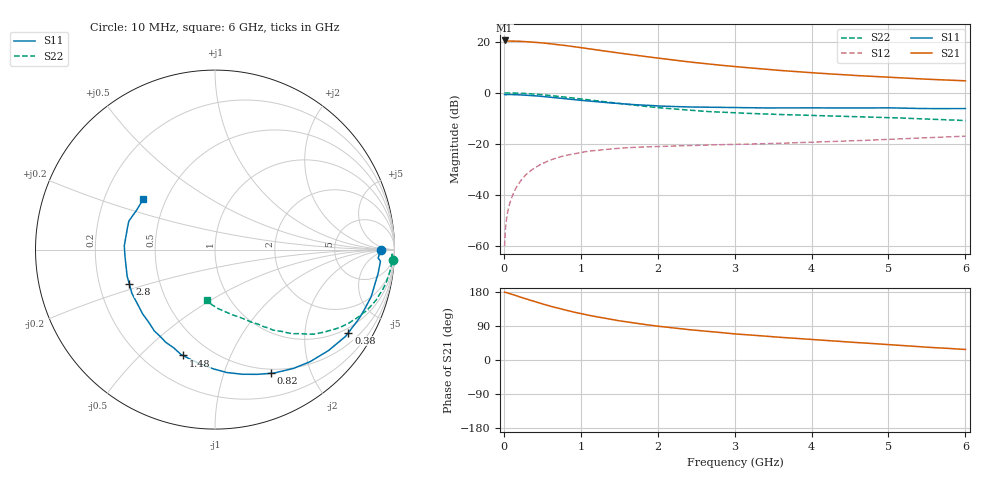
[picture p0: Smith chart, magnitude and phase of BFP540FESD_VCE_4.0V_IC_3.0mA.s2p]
! Infineon Technologies  Discrete & RF Semiconductors
! BFP540FESD
! VCE =  4.0 V,  IC =  3.0 mA
! Common Emitter S-Parameters:  Nov 2015
# GHz  S  MA  R  50
!  f  S11  S21  S12  S22
! GHz  MAG  ANG  MAG  ANG  MAG  ANG  MAG  ANG
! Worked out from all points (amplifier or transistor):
!   210 points, 10 MHz to 6 GHz, reference 50 ohm
!   highest |S21| = 20.4 dB at 10 MHz (marker M1)
!   |S21| within 3 dB of that: start of sweep to 1.048 GHz
!   unconditionally stable (mu >= 1): 3.155 GHz to end of sweep
!   at 185 MHz: K = 0.07, MSG = 28.0 dB, |S12| = -36.0 dB
!   at 1.52 GHz: K = 0.46, MSG = 18.6 dB, |S12| = -21.7 dB
!   at 6 GHz: K = 1.43, MAG = 6.9 dB, |S12| = -17.0 dB
!   S11 on the Smith chart (normalised r, x): 10 MHz: 25, +0; 380 MHz: 0.83, -3.31; 820 MHz: 0.45, -1.45; 1.48 GHz: 0.36, -0.68; 2.8 GHz: 0.33, -0.17; 6 GHz: 0.37, +0.27
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0.01  0.9226 0.0  10.48 178.9  0.001 50.3  0.9925 -3.3
0.02  0.9101 -3.0  10.16 178.7  0.0021 75.8  0.9866 -1.0
0.045  0.9217 -3.8  10.2 177.2  0.0043 85.0  0.9887 -2.1
0.11  0.9165 -9.1  10.2 173.0  0.0096 80.7  0.9858 -5.0
0.15  0.9107 -13.3  10.21 170.5  0.013 81.7  0.983 -6.8
0.24  0.9005 -20.2  10.02 164.5  0.0208 78.0  0.9714 -10.8
0.38  0.8757 -31.9  9.719 155.6  0.0323 72.6  0.9437 -16.6
0.5  0.8465 -41.6  9.426 148.1  0.041 67.5  0.9129 -21.6
0.6  0.8189 -49.7  9.04 142.2  0.0479 63.9  0.8821 -25.2
0.82  0.7558 -65.8  8.267 130.8  0.06 55.9  0.8118 -32.6
1.02  0.7056 -79.0  7.522 121.7  0.0685 50.4  0.7493 -38.2
1.2  0.6641 -90.9  6.874 114.2  0.0744 45.6  0.6942 -42.7
1.48  0.6161 -106.9  6.024 104.2  0.0815 40.5  0.6188 -48.6
1.8  0.571 -122.7  5.185 94.4  0.0867 35.9  0.5491 -54.5
2.02  0.548 -132.4  4.721 88.8  0.0891 33.8  0.5078 -57.7
2.4  0.5258 -146.3  4.005 80.2  0.0924 31.4  0.4586 -62.7
2.8  0.5143 -157.9  3.461 72.8  0.0966 30.5  0.4176 -67.5
3.1  0.5083 -165.3  3.143 67.5  0.0983 29.7  0.3979 -70.5
3.5  0.5033 -174.4  2.782 61.1  0.1015 28.9  0.3782 -74.6
4.1  0.5042 175.9  2.399 52.8  0.1086 29.8  0.3554 -79.6
5.1  0.5014 160.0  1.97 39.3  0.1242 29.1  0.3221 -88.9
6  0.4892 145.1  1.705 27.8  0.1412 27.4  0.2855 -98.7
